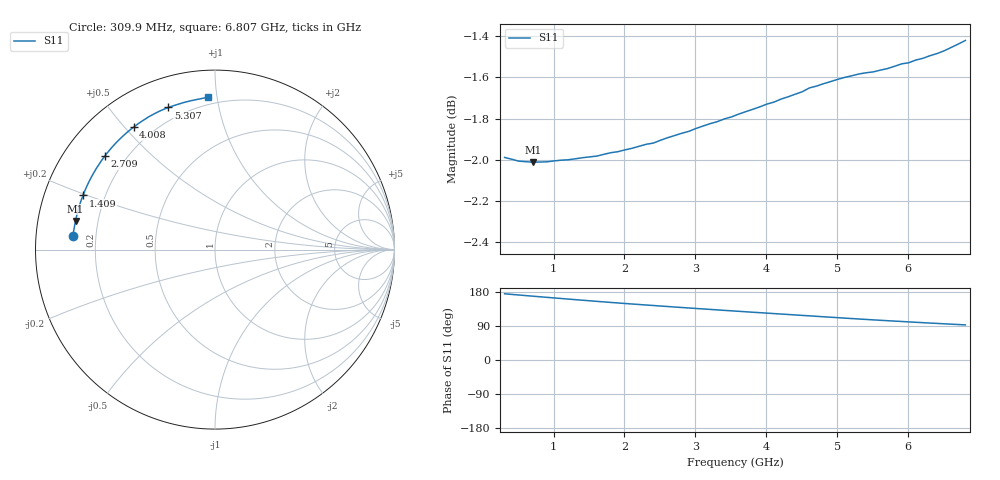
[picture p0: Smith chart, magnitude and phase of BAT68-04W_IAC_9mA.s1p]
! Infineon Technologies  Discrete & RF Semiconductors
! BAT68-04W
! IAC = 9 mA
! One-Port S-Parameters
# Hz  S  MA  R  50
!f  S11
!Hz  Mag  Ang
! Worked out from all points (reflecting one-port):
!   66 points, 309.9 MHz to 6.807 GHz, reference 50 ohm
!   lowest |S11| = -2.0 dB at 709.6 MHz (marker M1), VSWR 8.67, Z = 5.82 + j5 ohm
!   phase of S11 starts at 175 deg and turns -82 deg over the sweep
!   S11 on the Smith chart (normalised r, x): 309.9 MHz: 0.11, +0.05; 1.409 GHz: 0.12, +0.19; 2.709 GHz: 0.12, +0.36; 4.008 GHz: 0.13, +0.53; 5.307 GHz: 0.14, +0.71; 6.807 GHz: 0.16, +0.94
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3.0985e8  0.7953 174.7
7.0965e8  0.7932 168.4
1.0095e9  0.7938 163.7
1.2094e9  0.7943 160.7
1.4093e9  0.7952 157.7
1.70915e9  0.7967 153.3
2.009e9  0.7987 149.1
2.30885e9  0.8012 145.1
2.6087e9  0.8042 141.1
2.70865e9  0.8052 139.8
2.8086e9  0.8062 138.6
3.2084e9  0.8105 133.5
3.4083e9  0.8127 131.0
3.6082e9  0.8148 128.5
3.90805e9  0.8182 124.9
4.008e9  0.8195 123.6
4.10795e9  0.8204 122.5
4.2079e9  0.8217 121.3
4.4078e9  0.824 118.9
4.6077e9  0.8269 116.5
4.8076e9  0.8289 114.1
5.0075e9  0.8309 111.7
5.2074e9  0.8326 109.3
5.30735e9  0.8334 108.2
5.6072e9  0.8352 104.8
6.007e9  0.8386 100.6
6.30685e9  0.8419 97.5
6.8066e9  0.8492 92.6
